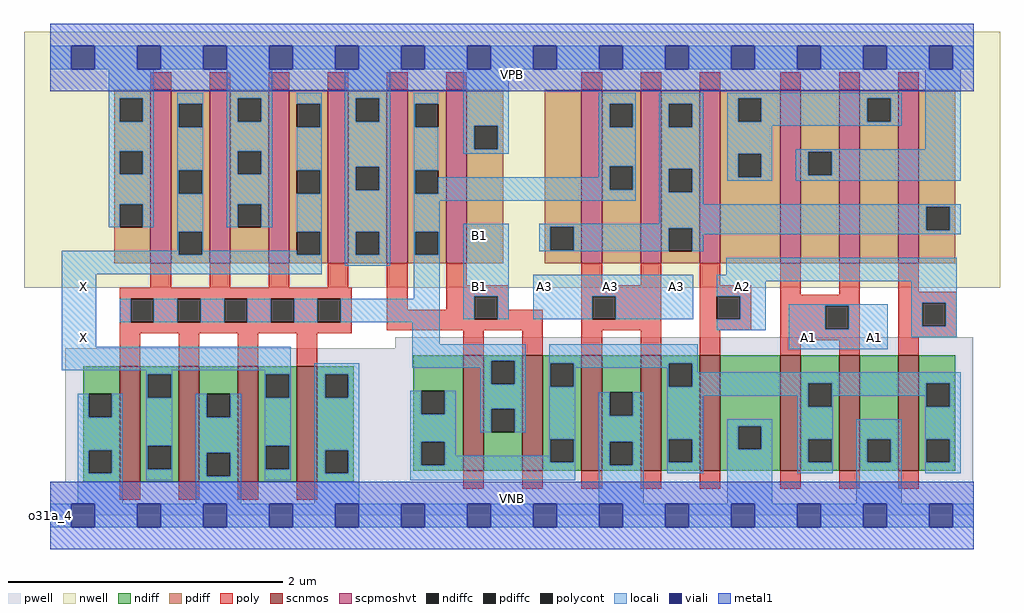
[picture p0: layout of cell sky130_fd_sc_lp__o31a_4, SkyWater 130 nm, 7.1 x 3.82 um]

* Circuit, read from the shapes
.subckt sky130_fd_sc_lp__o31a_4 A1 A2 A3 B1 VGND VNB VPB VPWR X
XM1 X n1 VGND VNB sky130_fd_pr__nfet_01v8 w=0.84 l=0.15 m=4
XM2 n1 B1 n2 VNB sky130_fd_pr__nfet_01v8 w=0.84 l=0.15 m=2
XM3 VGND A3 n2 VNB sky130_fd_pr__nfet_01v8 w=0.84 l=0.15 m=2
XM4 VGND A2 n2 VNB sky130_fd_pr__nfet_01v8 w=0.84 l=0.15 m=2
XM5 n2 A1 VGND VNB sky130_fd_pr__nfet_01v8 w=0.84 l=0.15 m=2
XM6 X n1 VPWR VPB sky130_fd_pr__pfet_01v8_hvt w=1.26 l=0.15 m=4
XM7 n1 B1 VPWR VPB sky130_fd_pr__pfet_01v8_hvt w=1.26 l=0.15 m=2
XM8 n1 A3 n3 VPB sky130_fd_pr__pfet_01v8_hvt w=1.26 l=0.15 m=2
XM9 n4 A2 n3 VPB sky130_fd_pr__pfet_01v8_hvt w=1.26 l=0.15 m=2
XM10 VPWR A1 n4 VPB sky130_fd_pr__pfet_01v8_hvt w=1.26 l=0.15 m=2
.ends

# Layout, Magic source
magic
tech sky130A
magscale 1 2
<< nwell >>
rect -38 331 1382 704
<< pwell >>
rect 502 243 1343 259
rect 22 49 1343 243
rect 0 0 1344 49
<< scnmos >>
rect 101 49 131 217
rect 187 49 217 217
rect 273 49 303 217
rect 359 49 389 217
rect 601 65 631 233
rect 687 65 717 233
rect 773 65 803 233
rect 859 65 889 233
rect 945 65 975 233
rect 1062 65 1092 233
rect 1148 65 1178 233
rect 1234 65 1264 233
<< scpmoshvt >>
rect 146 367 176 619
rect 232 367 262 619
rect 318 367 348 619
rect 404 367 434 619
rect 490 367 520 619
rect 576 367 606 619
rect 773 367 803 619
rect 859 367 889 619
rect 945 367 975 619
rect 1062 367 1092 619
rect 1148 367 1178 619
rect 1234 367 1264 619
<< ndiff >>
rect 48 177 101 217
rect 48 143 56 177
rect 90 143 101 177
rect 48 95 101 143
rect 48 61 56 95
rect 90 61 101 95
rect 48 49 101 61
rect 131 205 187 217
rect 131 171 142 205
rect 176 171 187 205
rect 131 101 187 171
rect 131 67 142 101
rect 176 67 187 101
rect 131 49 187 67
rect 217 177 273 217
rect 217 143 228 177
rect 262 143 273 177
rect 217 91 273 143
rect 217 57 228 91
rect 262 57 273 91
rect 217 49 273 57
rect 303 205 359 217
rect 303 171 314 205
rect 348 171 359 205
rect 303 101 359 171
rect 303 67 314 101
rect 348 67 359 101
rect 303 49 359 67
rect 389 205 442 217
rect 389 171 400 205
rect 434 171 442 205
rect 389 95 442 171
rect 389 61 400 95
rect 434 61 442 95
rect 528 181 601 233
rect 528 147 540 181
rect 574 147 601 181
rect 528 107 601 147
rect 528 73 540 107
rect 574 73 601 107
rect 528 65 601 73
rect 631 225 687 233
rect 631 191 642 225
rect 676 191 687 225
rect 631 155 687 191
rect 631 121 642 155
rect 676 121 687 155
rect 631 65 687 121
rect 717 221 773 233
rect 717 187 728 221
rect 762 187 773 221
rect 717 111 773 187
rect 717 77 728 111
rect 762 77 773 111
rect 717 65 773 77
rect 803 179 859 233
rect 803 145 814 179
rect 848 145 859 179
rect 803 107 859 145
rect 803 73 814 107
rect 848 73 859 107
rect 803 65 859 73
rect 889 221 945 233
rect 889 187 900 221
rect 934 187 945 221
rect 889 111 945 187
rect 889 77 900 111
rect 934 77 945 111
rect 889 65 945 77
rect 975 130 1062 233
rect 975 96 1001 130
rect 1035 96 1062 130
rect 975 65 1062 96
rect 1092 192 1148 233
rect 1092 158 1103 192
rect 1137 158 1148 192
rect 1092 111 1148 158
rect 1092 77 1103 111
rect 1137 77 1148 111
rect 1092 65 1148 77
rect 1178 111 1234 233
rect 1178 77 1189 111
rect 1223 77 1234 111
rect 1178 65 1234 77
rect 1264 192 1317 233
rect 1264 158 1275 192
rect 1309 158 1317 192
rect 1264 111 1317 158
rect 1264 77 1275 111
rect 1309 77 1317 111
rect 1264 65 1317 77
rect 389 49 442 61
<< pdiff >>
rect 93 607 146 619
rect 93 573 101 607
rect 135 573 146 607
rect 93 530 146 573
rect 93 496 101 530
rect 135 496 146 530
rect 93 453 146 496
rect 93 419 101 453
rect 135 419 146 453
rect 93 367 146 419
rect 176 599 232 619
rect 176 565 187 599
rect 221 565 232 599
rect 176 502 232 565
rect 176 468 187 502
rect 221 468 232 502
rect 176 413 232 468
rect 176 379 187 413
rect 221 379 232 413
rect 176 367 232 379
rect 262 607 318 619
rect 262 573 273 607
rect 307 573 318 607
rect 262 530 318 573
rect 262 496 273 530
rect 307 496 318 530
rect 262 453 318 496
rect 262 419 273 453
rect 307 419 318 453
rect 262 367 318 419
rect 348 599 404 619
rect 348 565 359 599
rect 393 565 404 599
rect 348 502 404 565
rect 348 468 359 502
rect 393 468 404 502
rect 348 413 404 468
rect 348 379 359 413
rect 393 379 404 413
rect 348 367 404 379
rect 434 607 490 619
rect 434 573 445 607
rect 479 573 490 607
rect 434 507 490 573
rect 434 473 445 507
rect 479 473 490 507
rect 434 413 490 473
rect 434 379 445 413
rect 479 379 490 413
rect 434 367 490 379
rect 520 599 576 619
rect 520 565 531 599
rect 565 565 576 599
rect 520 502 576 565
rect 520 468 531 502
rect 565 468 576 502
rect 520 413 576 468
rect 520 379 531 413
rect 565 379 576 413
rect 520 367 576 379
rect 606 567 659 619
rect 606 533 617 567
rect 651 533 659 567
rect 606 367 659 533
rect 720 420 773 619
rect 720 386 728 420
rect 762 386 773 420
rect 720 367 773 386
rect 803 599 859 619
rect 803 565 814 599
rect 848 565 859 599
rect 803 508 859 565
rect 803 474 814 508
rect 848 474 859 508
rect 803 367 859 474
rect 889 599 945 619
rect 889 565 900 599
rect 934 565 945 599
rect 889 504 945 565
rect 889 470 900 504
rect 934 470 945 504
rect 889 418 945 470
rect 889 384 900 418
rect 934 384 945 418
rect 889 367 945 384
rect 975 607 1062 619
rect 975 573 1001 607
rect 1035 573 1062 607
rect 975 526 1062 573
rect 975 492 1001 526
rect 1035 492 1062 526
rect 975 367 1062 492
rect 1092 529 1148 619
rect 1092 495 1103 529
rect 1137 495 1148 529
rect 1092 367 1148 495
rect 1178 607 1234 619
rect 1178 573 1189 607
rect 1223 573 1234 607
rect 1178 367 1234 573
rect 1264 449 1317 619
rect 1264 415 1275 449
rect 1309 415 1317 449
rect 1264 367 1317 415
<< ndiffc >>
rect 56 143 90 177
rect 56 61 90 95
rect 142 171 176 205
rect 142 67 176 101
rect 228 143 262 177
rect 228 57 262 91
rect 314 171 348 205
rect 314 67 348 101
rect 400 171 434 205
rect 400 61 434 95
rect 540 147 574 181
rect 540 73 574 107
rect 642 191 676 225
rect 642 121 676 155
rect 728 187 762 221
rect 728 77 762 111
rect 814 145 848 179
rect 814 73 848 107
rect 900 187 934 221
rect 900 77 934 111
rect 1001 96 1035 130
rect 1103 158 1137 192
rect 1103 77 1137 111
rect 1189 77 1223 111
rect 1275 158 1309 192
rect 1275 77 1309 111
<< pdiffc >>
rect 101 573 135 607
rect 101 496 135 530
rect 101 419 135 453
rect 187 565 221 599
rect 187 468 221 502
rect 187 379 221 413
rect 273 573 307 607
rect 273 496 307 530
rect 273 419 307 453
rect 359 565 393 599
rect 359 468 393 502
rect 359 379 393 413
rect 445 573 479 607
rect 445 473 479 507
rect 445 379 479 413
rect 531 565 565 599
rect 531 468 565 502
rect 531 379 565 413
rect 617 533 651 567
rect 728 386 762 420
rect 814 565 848 599
rect 814 474 848 508
rect 900 565 934 599
rect 900 470 934 504
rect 900 384 934 418
rect 1001 573 1035 607
rect 1001 492 1035 526
rect 1103 495 1137 529
rect 1189 573 1223 607
rect 1275 415 1309 449
<< poly >>
rect 146 619 176 645
rect 232 619 262 645
rect 318 619 348 645
rect 404 619 434 645
rect 490 619 520 645
rect 576 619 606 645
rect 773 619 803 645
rect 859 619 889 645
rect 945 619 975 645
rect 1062 619 1092 645
rect 1148 619 1178 645
rect 1234 619 1264 645
rect 146 331 176 367
rect 232 331 262 367
rect 318 331 348 367
rect 404 331 434 367
rect 101 315 439 331
rect 101 281 117 315
rect 151 281 185 315
rect 219 281 253 315
rect 287 281 321 315
rect 355 281 389 315
rect 423 281 439 315
rect 101 265 439 281
rect 490 299 520 367
rect 576 335 606 367
rect 773 335 803 367
rect 859 335 889 367
rect 576 319 667 335
rect 576 299 617 319
rect 490 285 617 299
rect 651 299 667 319
rect 773 319 889 335
rect 651 285 717 299
rect 490 269 717 285
rect 101 217 131 265
rect 187 217 217 265
rect 273 217 303 265
rect 359 217 389 265
rect 601 233 631 269
rect 687 233 717 269
rect 773 285 789 319
rect 823 285 889 319
rect 773 269 889 285
rect 773 233 803 269
rect 859 233 889 269
rect 945 335 975 367
rect 945 319 1020 335
rect 945 285 970 319
rect 1004 285 1020 319
rect 945 269 1020 285
rect 1062 321 1092 367
rect 1148 321 1178 367
rect 1062 305 1178 321
rect 1062 271 1128 305
rect 1162 271 1178 305
rect 945 233 975 269
rect 1062 255 1178 271
rect 1062 233 1092 255
rect 1148 233 1178 255
rect 1234 325 1264 367
rect 1234 309 1319 325
rect 1234 275 1269 309
rect 1303 275 1319 309
rect 1234 259 1319 275
rect 1234 233 1264 259
rect 101 23 131 49
rect 187 23 217 49
rect 273 23 303 49
rect 359 23 389 49
rect 601 39 631 65
rect 687 39 717 65
rect 773 39 803 65
rect 859 39 889 65
rect 945 39 975 65
rect 1062 39 1092 65
rect 1148 39 1178 65
rect 1234 39 1264 65
<< polycont >>
rect 117 281 151 315
rect 185 281 219 315
rect 253 281 287 315
rect 321 281 355 315
rect 389 281 423 315
rect 617 285 651 319
rect 789 285 823 319
rect 970 285 1004 319
rect 1128 271 1162 305
rect 1269 275 1303 309
<< locali >>
rect 0 649 31 683
rect 65 649 127 683
rect 161 649 223 683
rect 257 649 319 683
rect 353 649 415 683
rect 449 649 511 683
rect 545 649 607 683
rect 641 649 703 683
rect 737 649 799 683
rect 833 649 895 683
rect 929 649 991 683
rect 1025 649 1087 683
rect 1121 649 1183 683
rect 1217 649 1279 683
rect 1313 649 1344 683
rect 85 607 151 649
rect 85 573 101 607
rect 135 573 151 607
rect 85 530 151 573
rect 85 496 101 530
rect 135 496 151 530
rect 85 453 151 496
rect 85 419 101 453
rect 135 419 151 453
rect 185 599 223 615
rect 185 565 187 599
rect 221 565 223 599
rect 185 502 223 565
rect 185 468 187 502
rect 221 468 223 502
rect 185 413 223 468
rect 257 607 323 649
rect 257 573 273 607
rect 307 573 323 607
rect 257 530 323 573
rect 257 496 273 530
rect 307 496 323 530
rect 257 453 323 496
rect 257 419 273 453
rect 307 419 323 453
rect 359 599 395 615
rect 393 565 395 599
rect 359 502 395 565
rect 393 468 395 502
rect 185 385 187 413
rect 17 379 187 385
rect 221 385 223 413
rect 359 413 395 468
rect 221 379 359 385
rect 393 379 395 413
rect 17 351 395 379
rect 429 607 495 649
rect 429 573 445 607
rect 479 573 495 607
rect 429 507 495 573
rect 429 473 445 507
rect 479 473 495 507
rect 429 413 495 473
rect 429 379 445 413
rect 479 379 495 413
rect 429 363 495 379
rect 529 599 565 615
rect 529 565 531 599
rect 529 502 565 565
rect 601 567 667 649
rect 601 533 617 567
rect 651 533 667 567
rect 601 526 667 533
rect 798 599 852 615
rect 798 565 814 599
rect 848 565 852 599
rect 529 468 531 502
rect 798 508 852 565
rect 798 492 814 508
rect 565 474 814 492
rect 848 474 852 508
rect 565 468 852 474
rect 529 458 852 468
rect 886 599 950 615
rect 886 565 900 599
rect 934 565 950 599
rect 886 504 950 565
rect 886 470 900 504
rect 934 470 950 504
rect 985 607 1239 615
rect 985 573 1001 607
rect 1035 573 1189 607
rect 1223 573 1239 607
rect 985 567 1239 573
rect 985 526 1051 567
rect 1273 533 1325 649
rect 985 492 1001 526
rect 1035 492 1051 526
rect 985 487 1051 492
rect 1085 529 1325 533
rect 1085 495 1103 529
rect 1137 495 1325 529
rect 1085 487 1325 495
rect 529 413 567 458
rect 886 453 950 470
rect 886 449 1325 453
rect 886 424 1275 449
rect 529 379 531 413
rect 565 379 567 413
rect 17 245 67 351
rect 529 315 567 379
rect 101 281 117 315
rect 151 281 185 315
rect 219 281 253 315
rect 287 281 321 315
rect 355 281 389 315
rect 423 281 567 315
rect 601 319 667 424
rect 712 420 1275 424
rect 712 386 728 420
rect 762 418 1275 420
rect 762 386 900 418
rect 712 384 900 386
rect 934 415 1275 418
rect 1309 415 1325 449
rect 934 409 1325 415
rect 934 384 950 409
rect 984 350 1319 375
rect 601 285 617 319
rect 651 285 667 319
rect 703 319 936 350
rect 703 285 789 319
rect 823 285 936 319
rect 970 341 1319 350
rect 970 319 1041 341
rect 1004 285 1041 319
rect 1253 309 1319 341
rect 527 249 567 281
rect 970 269 1041 285
rect 1075 305 1219 307
rect 1075 271 1128 305
rect 1162 271 1219 305
rect 17 211 350 245
rect 527 225 692 249
rect 140 205 178 211
rect 40 143 56 177
rect 90 143 106 177
rect 40 95 106 143
rect 40 61 56 95
rect 90 61 106 95
rect 40 17 106 61
rect 140 171 142 205
rect 176 171 178 205
rect 312 205 350 211
rect 140 101 178 171
rect 140 67 142 101
rect 176 67 178 101
rect 140 51 178 67
rect 212 143 228 177
rect 262 143 278 177
rect 212 91 278 143
rect 212 57 228 91
rect 262 57 278 91
rect 212 17 278 57
rect 312 171 314 205
rect 348 171 350 205
rect 312 101 350 171
rect 312 67 314 101
rect 348 67 350 101
rect 312 51 350 67
rect 384 205 450 221
rect 527 215 642 225
rect 384 171 400 205
rect 434 171 450 205
rect 626 191 642 215
rect 676 191 692 225
rect 384 95 450 171
rect 384 61 400 95
rect 434 61 450 95
rect 384 17 450 61
rect 524 147 540 181
rect 574 147 590 181
rect 524 107 590 147
rect 626 155 692 191
rect 626 121 642 155
rect 676 121 692 155
rect 726 221 942 249
rect 1075 242 1219 271
rect 1253 275 1269 309
rect 1303 275 1319 309
rect 1253 259 1319 275
rect 726 187 728 221
rect 762 215 900 221
rect 762 187 764 215
rect 524 73 540 107
rect 574 87 590 107
rect 726 111 764 187
rect 898 187 900 215
rect 934 208 942 221
rect 934 192 1325 208
rect 934 187 1103 192
rect 726 87 728 111
rect 574 77 728 87
rect 762 77 764 111
rect 574 73 764 77
rect 524 51 764 73
rect 798 145 814 179
rect 848 145 864 179
rect 798 107 864 145
rect 798 73 814 107
rect 848 73 864 107
rect 798 17 864 73
rect 898 174 1103 187
rect 898 111 950 174
rect 1087 158 1103 174
rect 1137 174 1275 192
rect 1137 158 1139 174
rect 898 77 900 111
rect 934 77 950 111
rect 898 61 950 77
rect 985 130 1051 140
rect 985 96 1001 130
rect 1035 96 1051 130
rect 985 17 1051 96
rect 1087 111 1139 158
rect 1273 158 1275 174
rect 1309 158 1325 192
rect 1087 77 1103 111
rect 1137 77 1139 111
rect 1087 61 1139 77
rect 1173 111 1239 140
rect 1173 77 1189 111
rect 1223 77 1239 111
rect 1173 17 1239 77
rect 1273 111 1325 158
rect 1273 77 1275 111
rect 1309 77 1325 111
rect 1273 61 1325 77
rect 0 -17 31 17
rect 65 -17 127 17
rect 161 -17 223 17
rect 257 -17 319 17
rect 353 -17 415 17
rect 449 -17 511 17
rect 545 -17 607 17
rect 641 -17 703 17
rect 737 -17 799 17
rect 833 -17 895 17
rect 929 -17 991 17
rect 1025 -17 1087 17
rect 1121 -17 1183 17
rect 1217 -17 1279 17
rect 1313 -17 1344 17
<< viali >>
rect 31 649 65 683
rect 127 649 161 683
rect 223 649 257 683
rect 319 649 353 683
rect 415 649 449 683
rect 511 649 545 683
rect 607 649 641 683
rect 703 649 737 683
rect 799 649 833 683
rect 895 649 929 683
rect 991 649 1025 683
rect 1087 649 1121 683
rect 1183 649 1217 683
rect 1279 649 1313 683
rect 31 -17 65 17
rect 127 -17 161 17
rect 223 -17 257 17
rect 319 -17 353 17
rect 415 -17 449 17
rect 511 -17 545 17
rect 607 -17 641 17
rect 703 -17 737 17
rect 799 -17 833 17
rect 895 -17 929 17
rect 991 -17 1025 17
rect 1087 -17 1121 17
rect 1183 -17 1217 17
rect 1279 -17 1313 17
<< metal1 >>
rect 0 683 1344 715
rect 0 649 31 683
rect 65 649 127 683
rect 161 649 223 683
rect 257 649 319 683
rect 353 649 415 683
rect 449 649 511 683
rect 545 649 607 683
rect 641 649 703 683
rect 737 649 799 683
rect 833 649 895 683
rect 929 649 991 683
rect 1025 649 1087 683
rect 1121 649 1183 683
rect 1217 649 1279 683
rect 1313 649 1344 683
rect 0 617 1344 649
rect 0 17 1344 49
rect 0 -17 31 17
rect 65 -17 127 17
rect 161 -17 223 17
rect 257 -17 319 17
rect 353 -17 415 17
rect 449 -17 511 17
rect 545 -17 607 17
rect 641 -17 703 17
rect 737 -17 799 17
rect 833 -17 895 17
rect 929 -17 991 17
rect 1025 -17 1087 17
rect 1121 -17 1183 17
rect 1217 -17 1279 17
rect 1313 -17 1344 17
rect 0 -49 1344 -17
<< labels >>
flabel pwell s 0 0 1344 49 0 FreeSans 200 0 0 0 VNB
port 6 nsew ground bidirectional
flabel nwell s 0 617 1344 666 0 FreeSans 200 0 0 0 VPB
port 7 nsew power bidirectional
rlabel comment s 0 0 0 0 4 o31a_4
flabel metal1 s 0 617 1344 666 0 FreeSans 340 0 0 0 VPWR
port 8 nsew power bidirectional
flabel metal1 s 0 0 1344 49 0 FreeSans 340 0 0 0 VGND
port 5 nsew ground bidirectional
flabel locali s 1087 242 1121 276 0 FreeSans 340 0 0 0 A1
port 1 nsew signal input
flabel locali s 1183 242 1217 276 0 FreeSans 340 0 0 0 A1
port 1 nsew signal input
flabel locali s 703 316 737 350 0 FreeSans 340 0 0 0 A3
port 3 nsew signal input
flabel locali s 799 316 833 350 0 FreeSans 340 0 0 0 A3
port 3 nsew signal input
flabel locali s 895 316 929 350 0 FreeSans 340 0 0 0 A3
port 3 nsew signal input
flabel locali s 607 316 641 350 0 FreeSans 340 0 0 0 B1
port 4 nsew signal input
flabel locali s 607 390 641 424 0 FreeSans 340 0 0 0 B1
port 4 nsew signal input
flabel locali s 31 242 65 276 0 FreeSans 340 0 0 0 X
port 9 nsew signal output
flabel locali s 31 316 65 350 0 FreeSans 340 0 0 0 X
port 9 nsew signal output
flabel locali s 991 316 1025 350 0 FreeSans 340 0 0 0 A2
port 2 nsew signal input
<< properties >>
string LEFsite unit
string LEFclass CORE
string FIXED_BBOX 0 0 1344 666
string GDS_FILE $PDKPATH/libs.ref/sky130_fd_sc_lp/gds/sky130_fd_sc_lp.gds
string LEFsymmetry X Y R90
string GDS_END 1192006
string GDS_START 1180654
<< end >>
